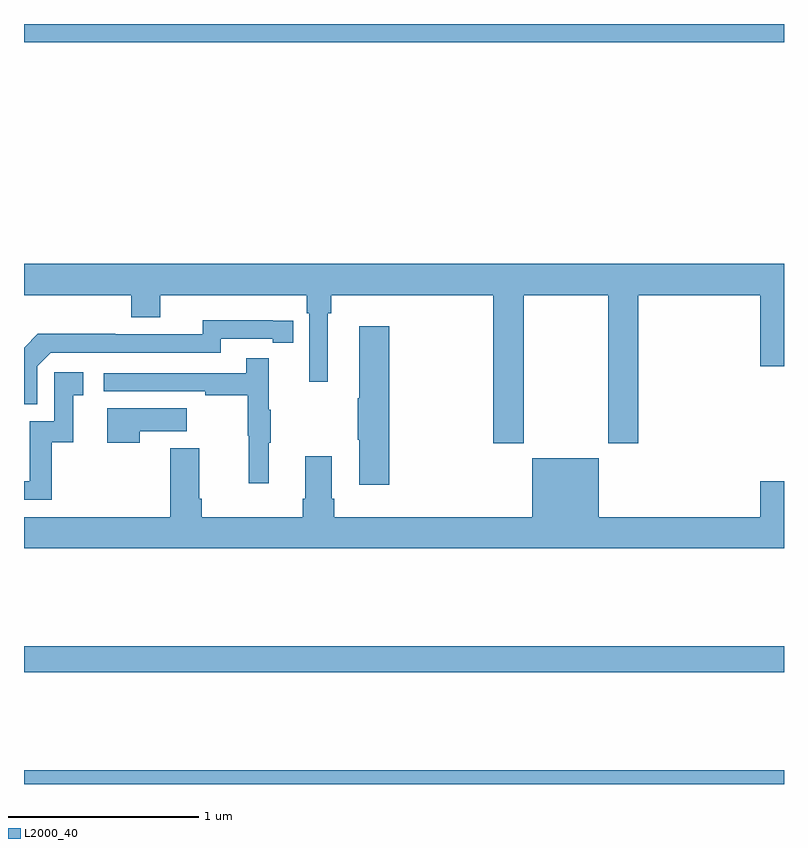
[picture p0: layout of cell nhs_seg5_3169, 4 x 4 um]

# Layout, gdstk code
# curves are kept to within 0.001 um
import gdstk
lib = gdstk.Library(unit=1e-6, precision=1e-09)
def R(c, l, rs):  # rectangles x0, y0, x1, y1
    for r in rs: c.add(gdstk.rectangle(r[:2], r[2:], *l))
def P(c, l, *ps):  # polygons
    for p in ps: c.add(gdstk.Polygon(p, *l))
L2000_40 = (2000, 40)

nhs_seg5_3169 = lib.new_cell('nhs_seg5_3169')
R(nhs_seg5_3169, L2000_40, [(293,908.799,297,908.872), (293,909.388,297,909.524), (293,912.704,297,912.799)])
P(nhs_seg5_3169, L2000_40, [(295.629,911.372),(296.074,911.372),(296.074,910.593),(296.234,910.593),(296.234,911.372),(296.876,911.372),(296.876,910.998),(297,910.998),(297,911.536),(293,911.536),(293,911.372),(293.564,911.372),(293.564,911.255),(293.716,911.255),(293.716,911.372),(294.488,911.372),(294.488,911.276),(294.501,911.276),(294.501,910.917),(294.598,910.917),(294.598,911.276),(294.617,911.276),(294.617,911.372),(295.469,911.372),(295.469,910.593),(295.629,910.593)],
  [(293.07,910.998),(293.142,911.07),(294.036,911.07),(294.036,911.142),(294.308,911.142),(294.308,911.122),(294.416,911.122),(294.416,911.238),(293.94,911.239),(293.94,911.166),(293.48,911.166),(293.48,911.168),(293.072,911.168),(293,911.096),(293,910.797),(293.07,910.797)],
  [(294.923,911.209),(294.764,911.209),(294.764,910.829),(294.757,910.829),(294.757,910.612),(294.764,910.612),(294.764,910.374),(294.923,910.374)],
  [(294.287,910.595),(294.298,910.595),(294.298,910.769),(294.287,910.769),(294.287,911.041),(294.169,911.041),(294.169,910.962),(293.421,910.962),(293.421,910.866),(293.953,910.866),(293.953,910.846),(294.177,910.846),(294.177,910.632),(294.184,910.632),(294.184,910.383),(294.287,910.383)],
  [(293.147,910.599),(293.258,910.599),(293.258,910.845),(293.311,910.845),(293.311,910.966),(293.16,910.966),(293.16,910.707),(293.031,910.707),(293.031,910.392),(293,910.392),(293,910.296),(293.147,910.296)],
  [(293.609,910.655),(293.857,910.655),(293.857,910.777),(293.438,910.777),(293.438,910.596),(293.609,910.596)],
  [(297,910.393),(296.876,910.393),(296.876,910.204),(296.026,910.204),(296.026,910.513),(295.676,910.513),(295.676,910.204),(294.632,910.204),(294.632,910.3),(294.619,910.3),(294.619,910.525),(294.479,910.525),(294.479,910.3),(294.467,910.3),(294.467,910.204),(293.936,910.204),(293.936,910.3),(293.923,910.3),(293.923,910.567),(293.771,910.567),(293.771,910.204),(293,910.204),(293,910.04),(297,910.04)])

lib.write_gds('nhs_seg5_3169.gds')
